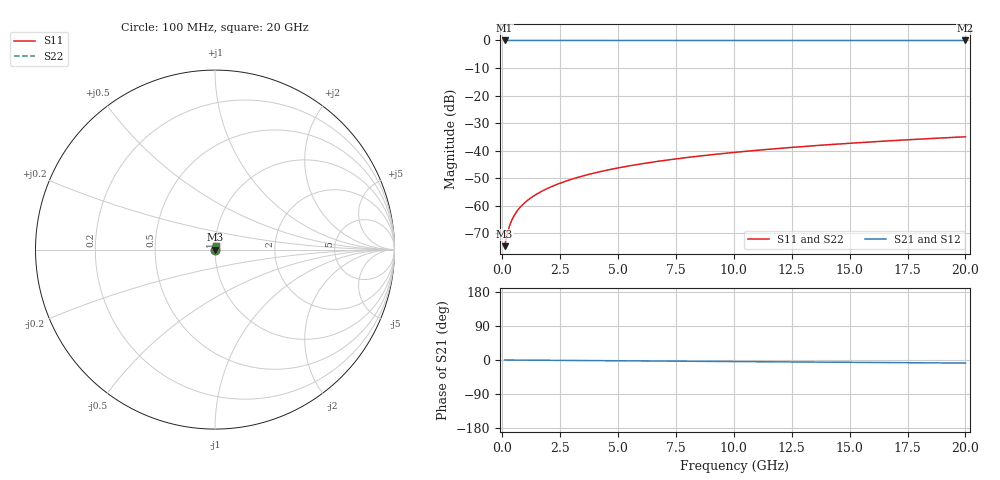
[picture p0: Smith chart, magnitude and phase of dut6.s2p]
! Touchstone file exported from HFSS 2026.1.0
!  File:  C:/ffzhzh/LocalFiles/Ansys_Project_Files/temp_test_TSV_6_1782978107_45308.aedt
!  Generated:  03:43:21 PM Jul  2, 2026
!  Design:  TSV
!  Project:  temp_test_TSV_6_1782978107_45308
! Variables:
!  h_bsmrdl = 2um
!  h_ox = 20um
!  h_rdl = 5um
!  h_sub = 79.86um
!  h_tmrdl = 5um
!  h_tsv = 79.86um
!  h_via = 3um
!  l_bsmrdl = 300um
!  l_sub = 419.66um
!  l_tmrdl = 200um
!  m_sub = 200um
!  pitch = 45.78um
!  r_tsv = 9.83um
!  s_tmrdl = 10um
!  w_bsmrdl = 18um
!  w_sub = 500um
!  w_tmrdl = 12um
!  x_tsv_center1 = 206um
!  x_tsv_center2 = 524um
!  x_tsv_center3 = 736um
!  x_tsv_center4 = 1054um
!  x_tsv_center5 = 1266um
!  x_tsv_center6 = 1584um
# GHz S MA R 50.000000
! Terminal data exported
! Port[1] = TSV1_1_T1
! Port[2] = TSV1_1_T2
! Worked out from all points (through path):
!   200 points, 100 MHz to 20 GHz, reference 50 ohm
!   highest |S21| = 0.00 dB at 100 MHz (marker M1); lowest = 0.0 dB at 20 GHz (marker M2)
!   group delay of S21, straight-line fit = 1.13 ps
!   lowest |S11| = -74.7 dB at 100 MHz (marker M3), VSWR 1.00, Z = 50 + j0.0132 ohm
!   |S11| at or under -10 dB: start of sweep to end of sweep
!   |S22| runs from -74.7 to -35.0 dB; largest |S21 - S12| = 4.6e-15
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0.1  0.0001848 45.4  0.9999 -0.0  0.9999 -0.0  0.0001848 45.4
! Gamma 0 0 0 0
! Port Impedance 50 0 50 0
0.2  0.0002963 61.5  0.9999 -0.1  0.9999 -0.1  0.0002963 61.5
0.3  0.0004163 67.6  0.9998 -0.1  0.9998 -0.1  0.0004163 67.6
0.4  0.0005351 70.3  0.9998 -0.2  0.9998 -0.2  0.0005351 70.3
0.5  0.0006498 71.7  0.9998 -0.2  0.9998 -0.2  0.0006498 71.7
0.6  0.0007602 72.6  0.9998 -0.3  0.9998 -0.3  0.0007602 72.6
0.7  0.0008665 73.2  0.9998 -0.3  0.9998 -0.3  0.0008665 73.2
0.8  0.0009693 73.7  0.9997 -0.3  0.9997 -0.3  0.0009693 73.7
1  0.001167 74.5  0.9997 -0.4  0.9997 -0.4  0.001167 74.5
1.4  0.001547 76.0  0.9996 -0.6  0.9996 -0.6  0.001547 76.0
1.7  0.001827 76.9  0.9996 -0.7  0.9996 -0.7  0.001827 76.9
2  0.002106 77.7  0.9996 -0.8  0.9996 -0.8  0.002106 77.7
2.7  0.002756 78.9  0.9995 -1.1  0.9995 -1.1  0.002756 78.9
3.5  0.003495 79.7  0.9995 -1.4  0.9995 -1.4  0.003495 79.7
4.2  0.004136 80.1  0.9994 -1.7  0.9994 -1.7  0.004136 80.1
5  0.004862 80.4  0.9993 -2.1  0.9993 -2.1  0.004862 80.4
6.8  0.006471 80.5  0.9992 -2.8  0.9992 -2.8  0.006471 80.5
8.3  0.007796 80.5  0.9991 -3.4  0.9991 -3.4  0.007796 80.5
10.1  0.009372 80.3  0.999 -4.1  0.999 -4.1  0.009372 80.3
13.4  0.01224 79.6  0.9989 -5.5  0.9989 -5.5  0.01224 79.6
16.7  0.01507 78.7  0.9987 -6.8  0.9987 -6.8  0.01507 78.7
20  0.01787 77.7  0.9985 -8.1  0.9985 -8.1  0.01787 77.7
